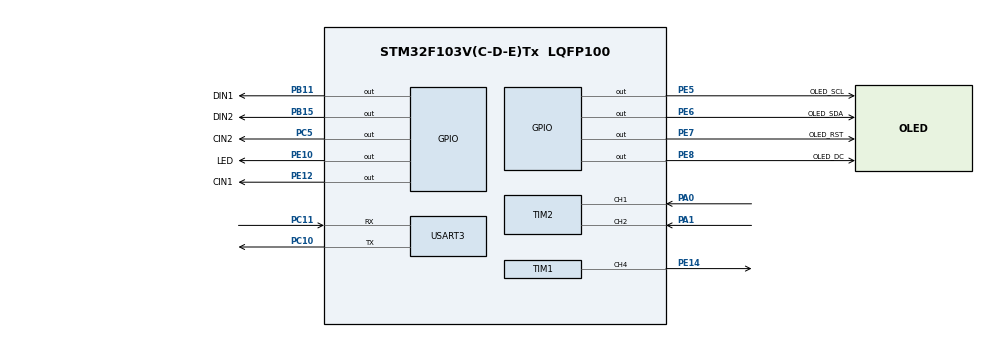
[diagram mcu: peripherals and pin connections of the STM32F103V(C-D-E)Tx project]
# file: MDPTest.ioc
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FREERTOS.Tasks01=defaultTask,24,128,StartDefaultTask,Default,NULL,Dynamic,NULL,NULL;ShowTask,8,128,show,Default,NULL,Dynamic,NULL,NULL;MotorTask,8,128,motor,Default,NULL,Dynamic,NULL,NULL;EncoderTask,8,128,Encoder,Default,NULL,Dynamic,NULL,NULL
Mcu.Family=STM32F1
Mcu.Name=STM32F103V(C-D-E)Tx
Mcu.Package=LQFP100
NVIC.PriorityGroup=NVIC_PRIORITYGROUP_4
NVIC.USART3_IRQn=true\:5\:0\:false\:false\:true\:true\:true\:true
PA0-WKUP.Signal=S_TIM2_CH1_ETR
PA1.Signal=S_TIM2_CH2
PB11.GPIO_Label=DIN1
PB11.GPIO_Speed=GPIO_SPEED_FREQ_HIGH
PB11.Signal=GPIO_Output
PB15.GPIO_Label=DIN2
PB15.GPIO_Speed=GPIO_SPEED_FREQ_HIGH
PB15.Signal=GPIO_Output
PC10.Mode=Asynchronous
PC10.Signal=USART3_TX
PC11.Mode=Asynchronous
PC11.Signal=USART3_RX
PC5.GPIO_Label=CIN2
PC5.GPIO_Speed=GPIO_SPEED_FREQ_HIGH
PC5.Signal=GPIO_Output
PC8.Signal=S_TIM8_CH3
PC9.Signal=S_TIM8_CH4
PE10.GPIO_Label=LED
PE10.Signal=GPIO_Output
PE12.GPIO_Label=CIN1
PE12.GPIO_Speed=GPIO_SPEED_FREQ_HIGH
PE12.Signal=GPIO_Output
PE14.Signal=S_TIM1_CH4
PE5.GPIO_Label=OLED_SCL
PE5.Signal=GPIO_Output
PE6.GPIO_Label=OLED_SDA
PE6.Signal=GPIO_Output
PE7.GPIO_Label=OLED_RST
PE7.Signal=GPIO_Output
PE8.GPIO_Label=OLED_DC
PE8.Signal=GPIO_Output
ProjectManager.HeapSize=0x200
ProjectManager.StackSize=0x400
ProjectManager.TargetToolchain=STM32CubeIDE
RCC.APB1Freq_Value=8000000
RCC.APB2Freq_Value=8000000
SH.S_TIM1_CH4.0=TIM1_CH4,PWM Generation4 CH4
SH.S_TIM2_CH1_ETR.0=TIM2_CH1,Encoder_Interface
SH.S_TIM2_CH2.0=TIM2_CH2,Encoder_Interface
SH.S_TIM8_CH3.0=TIM8_CH3
SH.S_TIM8_CH4.0=TIM8_CH4
TIM1.AutoReloadPreload=TIM_AUTORELOAD_PRELOAD_ENABLE
TIM1.Channel-PWM\ Generation4\ CH4=TIM_CHANNEL_4
TIM1.Period=1000
TIM1.Prescaler=160
TIM2.IC1Filter=10
TIM8.Channel-PWM\ Generation3\ No\ Output=TIM_CHANNEL_3
TIM8.Channel-PWM\ Generation4\ No\ Output=TIM_CHANNEL_4
TIM8.Period=7199
USART3.VirtualMode=VM_ASYNC
VP_FREERTOS_VS_CMSIS_V2.Mode=CMSIS_V2
VP_SYS_VS_ND.Mode=No_Debug
VP_TIM1_VS_ClockSourceINT.Mode=Internal
VP_TIM8_VS_ClockSourceINT.Mode=Internal
VP_TIM8_VS_no_output3.Mode=PWM Generation3 No Output
VP_TIM8_VS_no_output4.Mode=PWM Generation4 No Output
board=custom

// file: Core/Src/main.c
/* USER CODE BEGIN Header */
/**
  ******************************************************************************
  * @file           : main.c
  * @brief          : Main program body
  ******************************************************************************
  * @attention
  *
  * <h2><center>&copy; Copyright (c) 2021 STMicroelectronics.
  * All rights reserved.</center></h2>
  *
  * This software component is licensed by ST under BSD 3-Clause license,
  * the "License"; You may not use this file except in compliance with the
  * License. You may obtain a copy of the License at:
  *                        opensource.org/licenses/BSD-3-Clause
  *
  ******************************************************************************
  */
/* USER CODE END Header */
#include "main.h"
#include "cmsis_os.h"
#include "oled.h"

TIM_HandleTypeDef htim1;
TIM_HandleTypeDef htim2;
TIM_HandleTypeDef htim8;

UART_HandleTypeDef huart3;

/* Definitions for defaultTask */
osThreadId_t defaultTaskHandle;
const osThreadAttr_t defaultTask_attributes = {
  .name = "defaultTask",
  .stack_size = 128 * 4,
  .priority = (osPriority_t) osPriorityNormal,
};
/* Definitions for ShowTask */
osThreadId_t ShowTaskHandle;
const osThreadAttr_t ShowTask_attributes = {
  .name = "ShowTask",
  .stack_size = 128 * 4,
  .priority = (osPriority_t) osPriorityLow,
};
/* Definitions for MotorTask */
osThreadId_t MotorTaskHandle;
const osThreadAttr_t MotorTask_attributes = {
  .name = "MotorTask",
  .stack_size = 128 * 4,
  .priority = (osPriority_t) osPriorityLow,
};
/* Definitions for EncoderTask */
osThreadId_t EncoderTaskHandle;
const osThreadAttr_t EncoderTask_attributes = {
  .name = "EncoderTask",
  .stack_size = 128 * 4,
  .priority = (osPriority_t) osPriorityLow,
};

void SystemClock_Config(void);
static void MX_GPIO_Init(void);
static void MX_TIM8_Init(void);
static void MX_TIM2_Init(void);
static void MX_TIM1_Init(void);
static void MX_USART3_UART_Init(void);
void StartDefaultTask(void *argument);
void show(void *argument);
void motor(void *argument);
void Encoder(void *argument);

uint8_t aRxBuffer[20];
int main(void)
{

  /* MCU Configuration--------------------------------------------------------*/

  /* Reset of all peripherals, Initializes the Flash interface and the Systick. */
  HAL_Init();

  /* Configure the system clock */
  SystemClock_Config();

  /* Initialize all configured peripherals */
  MX_GPIO_Init();
  MX_TIM8_Init();
  MX_TIM2_Init();
  MX_TIM1_Init();
  MX_USART3_UART_Init();
  /* USER CODE BEGIN 2 */
  OLED_Init();
  HAL_UART_Receive_IT(&huart3,(uint8_t *) aRxBuffer,10);
  /* USER CODE END 2 */

  /* Init scheduler */
  osKernelInitialize();

  /* Create the thread(s) */
  /* creation of defaultTask */
  defaultTaskHandle = osThreadNew(StartDefaultTask, NULL, &defaultTask_attributes);

  /* creation of ShowTask */
  ShowTaskHandle = osThreadNew(show, NULL, &ShowTask_attributes);

  /* creation of MotorTask */
  MotorTaskHandle = osThreadNew(motor, NULL, &MotorTask_attributes);

  /* creation of EncoderTask */
  EncoderTaskHandle = osThreadNew(Encoder, NULL, &EncoderTask_attributes);

  /* Start scheduler */
  osKernelStart();

  /* We should never get here as control is now taken by the scheduler */
  /* Infinite loop */
  while (1)
  {

  }
}

void SystemClock_Config(void)
{
  RCC_OscInitTypeDef RCC_OscInitStruct = {0};
  RCC_ClkInitTypeDef RCC_ClkInitStruct = {0};

  /** Initializes the RCC Oscillators according to the specified parameters
  * in the RCC_OscInitTypeDef structure.
  */
  RCC_OscInitStruct.OscillatorType = RCC_OSCILLATORTYPE_HSI;
  RCC_OscInitStruct.HSIState = RCC_HSI_ON;
  RCC_OscInitStruct.HSICalibrationValue = RCC_HSICALIBRATION_DEFAULT;
  RCC_OscInitStruct.PLL.PLLState = RCC_PLL_NONE;
  if (HAL_RCC_OscConfig(&RCC_OscInitStruct) != HAL_OK)
  {
    Error_Handler();
  }
  /** Initializes the CPU, AHB and APB buses clocks
  */
  RCC_ClkInitStruct.ClockType = RCC_CLOCKTYPE_HCLK|RCC_CLOCKTYPE_SYSCLK
                              |RCC_CLOCKTYPE_PCLK1|RCC_CLOCKTYPE_PCLK2;
  RCC_ClkInitStruct.SYSCLKSource = RCC_SYSCLKSOURCE_HSI;
  RCC_ClkInitStruct.AHBCLKDivider = RCC_SYSCLK_DIV1;
  RCC_ClkInitStruct.APB1CLKDivider = RCC_HCLK_DIV1;
  RCC_ClkInitStruct.APB2CLKDivider = RCC_HCLK_DIV1;

  if (HAL_RCC_ClockConfig(&RCC_ClkInitStruct, FLASH_LATENCY_0) != HAL_OK)
  {
    Error_Handler();
  }
}

static void MX_TIM1_Init(void)
{

  TIM_ClockConfigTypeDef sClockSourceConfig = {0};
  TIM_MasterConfigTypeDef sMasterConfig = {0};
  TIM_OC_InitTypeDef sConfigOC = {0};
  TIM_BreakDeadTimeConfigTypeDef sBreakDeadTimeConfig = {0};

  htim1.Instance = TIM1;
  htim1.Init.Prescaler = 160;
  htim1.Init.CounterMode = TIM_COUNTERMODE_UP;
  htim1.Init.Period = 1000;
  htim1.Init.ClockDivision = TIM_CLOCKDIVISION_DIV1;
  htim1.Init.RepetitionCounter = 0;
  htim1.Init.AutoReloadPreload = TIM_AUTORELOAD_PRELOAD_ENABLE;
  if (HAL_TIM_Base_Init(&htim1) != HAL_OK)
  {
    Error_Handler();
  }
  sClockSourceConfig.ClockSource = TIM_CLOCKSOURCE_INTERNAL;
  if (HAL_TIM_ConfigClockSource(&htim1, &sClockSourceConfig) != HAL_OK)
  {
    Error_Handler();
  }
  if (HAL_TIM_PWM_Init(&htim1) != HAL_OK)
  {
    Error_Handler();
  }
  sMasterConfig.MasterOutputTrigger = TIM_TRGO_RESET;
  sMasterConfig.MasterSlaveMode = TIM_MASTERSLAVEMODE_DISABLE;
  if (HAL_TIMEx_MasterConfigSynchronization(&htim1, &sMasterConfig) != HAL_OK)
  {
    Error_Handler();
  }
  sConfigOC.OCMode = TIM_OCMODE_PWM1;
  sConfigOC.Pulse = 0;
  sConfigOC.OCPolarity = TIM_OCPOLARITY_HIGH;
  sConfigOC.OCFastMode = TIM_OCFAST_DISABLE;
  sConfigOC.OCIdleState = TIM_OCIDLESTATE_RESET;
  sConfigOC.OCNIdleState = TIM_OCNIDLESTATE_RESET;
  if (HAL_TIM_PWM_ConfigChannel(&htim1, &sConfigOC, TIM_CHANNEL_4) != HAL_OK)
  {
    Error_Handler();
  }
  sBreakDeadTimeConfig.OffStateRunMode = TIM_OSSR_DISABLE;
  sBreakDeadTimeConfig.OffStateIDLEMode = TIM_OSSI_DISABLE;
  sBreakDeadTimeConfig.LockLevel = TIM_LOCKLEVEL_OFF;
  sBreakDeadTimeConfig.DeadTime = 0;
  sBreakDeadTimeConfig.BreakState = TIM_BREAK_DISABLE;
  sBreakDeadTimeConfig.BreakPolarity = TIM_BREAKPOLARITY_HIGH;
  sBreakDeadTimeConfig.AutomaticOutput = TIM_AUTOMATICOUTPUT_DISABLE;
  if (HAL_TIMEx_ConfigBreakDeadTime(&htim1, &sBreakDeadTimeConfig) != HAL_OK)
  {
    Error_Handler();
  }
  HAL_TIM_MspPostInit(&htim1);

}

static void MX_TIM2_Init(void)
{

  TIM_Encoder_InitTypeDef sConfig = {0};
  TIM_MasterConfigTypeDef sMasterConfig = {0};

  htim2.Instance = TIM2;
  htim2.Init.Prescaler = 0;
  htim2.Init.CounterMode = TIM_COUNTERMODE_UP;
  htim2.Init.Period = 65535;
  htim2.Init.ClockDivision = TIM_CLOCKDIVISION_DIV1;
  htim2.Init.AutoReloadPreload = TIM_AUTORELOAD_PRELOAD_DISABLE;
  sConfig.EncoderMode = TIM_ENCODERMODE_TI1;
  sConfig.IC1Polarity = TIM_ICPOLARITY_RISING;
  sConfig.IC1Selection = TIM_ICSELECTION_DIRECTTI;
  sConfig.IC1Prescaler = TIM_ICPSC_DIV1;
  sConfig.IC1Filter = 10;
  sConfig.IC2Polarity = TIM_ICPOLARITY_RISING;
  sConfig.IC2Selection = TIM_ICSELECTION_DIRECTTI;
  sConfig.IC2Prescaler = TIM_ICPSC_DIV1;
  sConfig.IC2Filter = 0;
  if (HAL_TIM_Encoder_Init(&htim2, &sConfig) != HAL_OK)
  {
    Error_Handler();
  }
  sMasterConfig.MasterOutputTrigger = TIM_TRGO_RESET;
  sMasterConfig.MasterSlaveMode = TIM_MASTERSLAVEMODE_DISABLE;
  if (HAL_TIMEx_MasterConfigSynchronization(&htim2, &sMasterConfig) != HAL_OK)
  {
    Error_Handler();
  }

}

static void MX_TIM8_Init(void)
{

  TIM_ClockConfigTypeDef sClockSourceConfig = {0};
  TIM_MasterConfigTypeDef sMasterConfig = {0};
  TIM_OC_InitTypeDef sConfigOC = {0};
  TIM_BreakDeadTimeConfigTypeDef sBreakDeadTimeConfig = {0};

  htim8.Instance = TIM8;
  htim8.Init.Prescaler = 0;
  htim8.Init.CounterMode = TIM_COUNTERMODE_UP;
  htim8.Init.Period = 7199;
  htim8.Init.ClockDivision = TIM_CLOCKDIVISION_DIV1;
  htim8.Init.RepetitionCounter = 0;
  htim8.Init.AutoReloadPreload = TIM_AUTORELOAD_PRELOAD_DISABLE;
  if (HAL_TIM_Base_Init(&htim8) != HAL_OK)
  {
    Error_Handler();
  }
  sClockSourceConfig.ClockSource = TIM_CLOCKSOURCE_INTERNAL;
  if (HAL_TIM_ConfigClockSource(&htim8, &sClockSourceConfig) != HAL_OK)
  {
    Error_Handler();
  }
  if (HAL_TIM_PWM_Init(&htim8) != HAL_OK)
  {
    Error_Handler();
  }
  sMasterConfig.MasterOutputTrigger = TIM_TRGO_RESET;
  sMasterConfig.MasterSlaveMode = TIM_MASTERSLAVEMODE_DISABLE;
  if (HAL_TIMEx_MasterConfigSynchronization(&htim8, &sMasterConfig) != HAL_OK)
  {
    Error_Handler();
  }
  sConfigOC.OCMode = TIM_OCMODE_PWM1;
  sConfigOC.Pulse = 0;
  sConfigOC.OCPolarity = TIM_OCPOLARITY_HIGH;
  sConfigOC.OCNPolarity = TIM_OCNPOLARITY_HIGH;
  sConfigOC.OCFastMode = TIM_OCFAST_DISABLE;
  sConfigOC.OCIdleState = TIM_OCIDLESTATE_RESET;
  sConfigOC.OCNIdleState = TIM_OCNIDLESTATE_RESET;
  if (HAL_TIM_PWM_ConfigChannel(&htim8, &sConfigOC, TIM_CHANNEL_3) != HAL_OK)
  {
    Error_Handler();
  }
  if (HAL_TIM_PWM_ConfigChannel(&htim8, &sConfigOC, TIM_CHANNEL_4) != HAL_OK)
  {
    Error_Handler();
  }
  sBreakDeadTimeConfig.OffStateRunMode = TIM_OSSR_DISABLE;
  sBreakDeadTimeConfig.OffStateIDLEMode = TIM_OSSI_DISABLE;
  sBreakDeadTimeConfig.LockLevel = TIM_LOCKLEVEL_OFF;
  sBreakDeadTimeConfig.DeadTime = 0;
  sBreakDeadTimeConfig.BreakState = TIM_BREAK_DISABLE;
  sBreakDeadTimeConfig.BreakPolarity = TIM_BREAKPOLARITY_HIGH;
  sBreakDeadTimeConfig.AutomaticOutput = TIM_AUTOMATICOUTPUT_DISABLE;
  if (HAL_TIMEx_ConfigBreakDeadTime(&htim8, &sBreakDeadTimeConfig) != HAL_OK)
  {
    Error_Handler();
  }

}

static void MX_USART3_UART_Init(void)
{

  huart3.Instance = USART3;
  huart3.Init.BaudRate = 115200;
  huart3.Init.WordLength = UART_WORDLENGTH_8B;
  huart3.Init.StopBits = UART_STOPBITS_1;
  huart3.Init.Parity = UART_PARITY_NONE;
  huart3.Init.Mode = UART_MODE_TX_RX;
  huart3.Init.HwFlowCtl = UART_HWCONTROL_NONE;
  huart3.Init.OverSampling = UART_OVERSAMPLING_16;
  if (HAL_UART_Init(&huart3) != HAL_OK)
  {
    Error_Handler();
  }

}

static void MX_GPIO_Init(void)
{
  GPIO_InitTypeDef GPIO_InitStruct = {0};

  /* GPIO Ports Clock Enable */
  __HAL_RCC_GPIOE_CLK_ENABLE();
  __HAL_RCC_GPIOA_CLK_ENABLE();
  __HAL_RCC_GPIOC_CLK_ENABLE();
  __HAL_RCC_GPIOB_CLK_ENABLE();

  /*Configure GPIO pin Output Level */
  HAL_GPIO_WritePin(GPIOE, OLED_SCL_Pin|OLED_SDA_Pin|OLED_RST_Pin|OLED_DC_Pin
                          |LED_Pin|CIN1_Pin, GPIO_PIN_RESET);

  /*Configure GPIO pin Output Level */
  HAL_GPIO_WritePin(CIN2_GPIO_Port, CIN2_Pin, GPIO_PIN_RESET);

  /*Configure GPIO pin Output Level */
  HAL_GPIO_WritePin(GPIOB, DIN1_Pin|DIN2_Pin, GPIO_PIN_RESET);

  /*Configure GPIO pins : OLED_SCL_Pin OLED_SDA_Pin OLED_RST_Pin OLED_DC_Pin
                           LED_Pin */
  GPIO_InitStruct.Pin = OLED_SCL_Pin|OLED_SDA_Pin|OLED_RST_Pin|OLED_DC_Pin
                          |LED_Pin;
  GPIO_InitStruct.Mode = GPIO_MODE_OUTPUT_PP;
  GPIO_InitStruct.Pull = GPIO_NOPULL;
  GPIO_InitStruct.Speed = GPIO_SPEED_FREQ_LOW;
  HAL_GPIO_Init(GPIOE, &GPIO_InitStruct);

  /*Configure GPIO pin : CIN2_Pin */
  GPIO_InitStruct.Pin = CIN2_Pin;
  GPIO_InitStruct.Mode = GPIO_MODE_OUTPUT_PP;
  GPIO_InitStruct.Pull = GPIO_NOPULL;
  GPIO_InitStruct.Speed = GPIO_SPEED_FREQ_HIGH;
  HAL_GPIO_Init(CIN2_GPIO_Port, &GPIO_InitStruct);

  /*Configure GPIO pin : CIN1_Pin */
  GPIO_InitStruct.Pin = CIN1_Pin;
  GPIO_InitStruct.Mode = GPIO_MODE_OUTPUT_PP;
  GPIO_InitStruct.Pull = GPIO_NOPULL;
  GPIO_InitStruct.Speed = GPIO_SPEED_FREQ_HIGH;
  HAL_GPIO_Init(CIN1_GPIO_Port, &GPIO_InitStruct);

  /*Configure GPIO pins : DIN1_Pin DIN2_Pin */
  GPIO_InitStruct.Pin = DIN1_Pin|DIN2_Pin;
  GPIO_InitStruct.Mode = GPIO_MODE_OUTPUT_PP;
  GPIO_InitStruct.Pull = GPIO_NOPULL;
  GPIO_InitStruct.Speed = GPIO_SPEED_FREQ_HIGH;
  HAL_GPIO_Init(GPIOB, &GPIO_InitStruct);

}

/* USER CODE BEGIN 4 */
void HAL_UART_RxCpltCallback(UART_HandleTypeDef *huart){

	/*prevent unused argument*/
	UNUSED(huart);

	HAL_UART_Transmit(&huart3,(uint8_t *)aRxBuffer,10,0xFFFF);

}

/* USER CODE END 4 */

void StartDefaultTask(void *argument)
{
  /* USER CODE BEGIN 5 */
  /* Infinite loop */
	uint8_t ch='A';
  for(;;)
  {
	  HAL_UART_Transmit(&huart3,(uint8_t *)&ch,1,0xFFFF);
	  if(ch<'Z')
		  ch++;
	  else
		  ch='A';
	  HAL_GPIO_TogglePin(LED_GPIO_Port, LED_Pin);
    osDelay(1000);
  }
  /* USER CODE END 5 */
}

void show(void *argument)
{
  /* USER CODE BEGIN show */
  /* Infinite loop */
	uint8_t hello[20] = "hello world\0";
  for(;;)
  {
	  sprintf(hello, "%s\0", aRxBuffer);
	  OLED_ShowString(10,10,hello);
	  OLED_Refresh_Gram();
    osDelay(1000);
  }
  /* USER CODE END show */
}

void motor(void *argument)
{
  for(;;)
  {
    osDelay(1);
  }
}

void Encoder(void *argument)
{
  /* USER CODE BEGIN Encoder */
  /* Infinite loop */
	HAL_TIM_Encoder_Start(&htim2, TIM_CHANNEL_ALL);

	int cnt1, cnt2, diff;

	uint32_t tick;

	cnt1 = __HAL_TIM_GET_COUNTER(&htim2);
	tick = HAL_GetTick();

	uint8_t hello[20];
	uint16_t dir;
  for(;;)
  {
	  if (HAL_GetTick()-tick > 1000L)
	  {
		  cnt2 = __HAL_TIM_GET_COUNTER(&htim2);
		  if(__HAL_TIM_IS_TIM_COUNTING_DOWN(&htim2))
		  {
			  if(cnt2<cnt1)
			  {
				  diff = cnt1 - cnt2;
			  }
			  else
			  {
				  diff = (65535 - cnt2) + cnt1;
			  }
		  }
		  else
		  {
			  if(cnt2 > cnt1)
				  diff = cnt2 - cnt1;
			  else
				  diff = (65535 - cnt1) + cnt2;
		  }
		  sprintf(hello, "Speed:%5d\0", diff);
		  OLED_ShowString(10,20, hello);
		  dir = __HAL_TIM_IS_TIM_COUNTING_DOWN(&htim2);
		  sprintf(hello, "Dir:%5d\0", dir);
		  OLED_ShowString(10,30, hello);
		  cnt1 = __HAL_TIM_GET_COUNTER(&htim2);
		  	tick = HAL_GetTick();
	  }
    osDelay(1);
  }
  /* USER CODE END Encoder */
}

void Error_Handler(void)
{
  __disable_irq();
  while (1)
  {
  }
}

/************************ (C) COPYRIGHT STMicroelectronics *****END OF FILE****/
